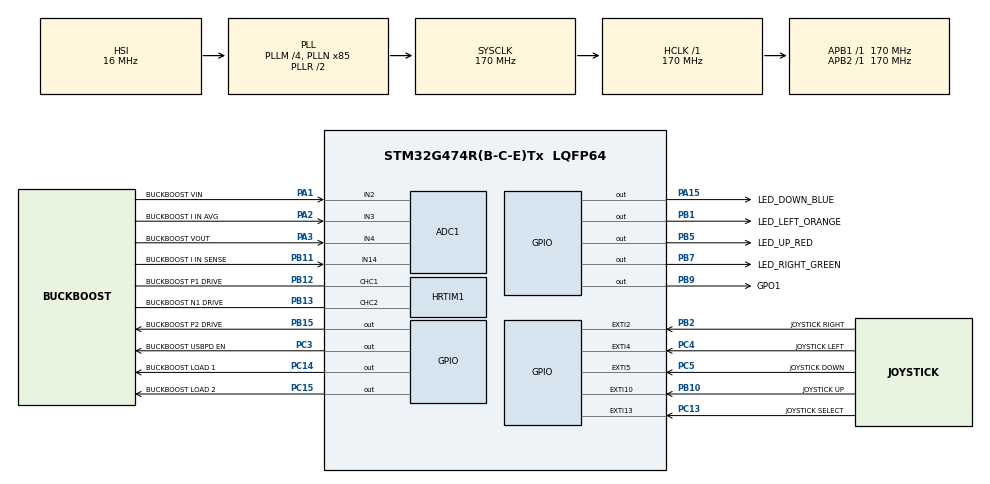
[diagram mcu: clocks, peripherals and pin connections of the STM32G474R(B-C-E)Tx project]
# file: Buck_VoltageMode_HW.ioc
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ADC1.Channel-0\#ChannelRegularConversion=ADC_CHANNEL_4
ADC1.DMAContinuousRequests=ENABLE
ADC1.DataAlign=ADC_DATAALIGN_LEFT
ADC1.ExternalTrigConv=ADC_EXTERNALTRIG_HRTIM_TRG1
ADC1.NbrOfConversionFlag=1
ADC1.Offset-0\#ChannelRegularConversion=REF
ADC1.OffsetNumber-0\#ChannelRegularConversion=ADC_OFFSET_1
ADC1.Overrun=ADC_OVR_DATA_OVERWRITTEN
ADC1.Rank-0\#ChannelRegularConversion=1
ADC1.SamplingTime-0\#ChannelRegularConversion=ADC_SAMPLETIME_2CYCLES_5
ADC1.master=1
Dma.ADC1.0.Direction=DMA_PERIPH_TO_MEMORY
Dma.ADC1.0.EventEnable=DISABLE
Dma.ADC1.0.Instance=DMA1_Channel1
Dma.ADC1.0.MemDataAlignment=DMA_MDATAALIGN_WORD
Dma.ADC1.0.MemInc=DMA_MINC_DISABLE
Dma.ADC1.0.Mode=DMA_CIRCULAR
Dma.ADC1.0.PeriphDataAlignment=DMA_PDATAALIGN_WORD
Dma.ADC1.0.PeriphInc=DMA_PINC_DISABLE
Dma.ADC1.0.Polarity=HAL_DMAMUX_REQ_GEN_RISING
Dma.ADC1.0.Priority=DMA_PRIORITY_LOW
Dma.ADC1.0.RequestNumber=1
Dma.ADC1.0.SignalID=HAL_DMAMUX1_REQ_GEN_EXTI2
Dma.ADC1.0.SyncEnable=DISABLE
Dma.ADC1.0.SyncPolarity=HAL_DMAMUX_SYNC_NO_EVENT
Dma.ADC1.0.SyncRequestNumber=1
Dma.ADC1.0.SyncSignalID=NONE
Dma.Request0=ADC1
HRTIM1.ADCTrigger1_Source1=HRTIM_ADCTRIGGEREVENT13_TIMERC_CMP3
HRTIM1.ADCTrigger_Id1=HRTIM_ADCTRIGGER_1
HRTIM1.CompareUnit1-Output_TC1TC2=HRTIM_COMPAREUNIT_1
HRTIM1.CompareUnit2-Output_TC1TC2=HRTIM_COMPAREUNIT_2
HRTIM1.CompareUnit3-Output_TC1TC2=HRTIM_COMPAREUNIT_3
HRTIM1.CompareValue1-Output_TC1TC2=0
HRTIM1.CompareValue2-Output_TC1TC2=24480
HRTIM1.CompareValue3-Output_TC1TC2=50
HRTIM1.DeadTimeInsertion-Output_TC1TC2=HRTIM_TIMDEADTIMEINSERTION_ENABLED
HRTIM1.FallingValue-Output_TC1TC2=300
HRTIM1.FaultLevel1-Output_TC1TC2=HRTIM_OUTPUTFAULTLEVEL_INACTIVE
HRTIM1.FaultLevel2-Output_TC1TC2=HRTIM_OUTPUTFAULTLEVEL_INACTIVE
HRTIM1.GreaterCMP1_TC=HRTIM_TIMERGTCMP1_EQUAL
HRTIM1.NumberADCTriggerSource1=1
HRTIM1.NumberResetSource1-Output_TC1TC2=2
HRTIM1.NumberSetSource1-Output_TC1TC2=1
HRTIM1.Periode_TC=27200
HRTIM1.PreloadEnable-Output_TC1TC2=HRTIM_PRELOAD_DISABLED
HRTIM1.ResetOutput1_Source1-Output_TC1TC2=HRTIM_OUTPUTRESET_TIMCMP1
HRTIM1.ResetOutput1_Source2-Output_TC1TC2=HRTIM_OUTPUTRESET_TIMCMP2
HRTIM1.RisingValue-Output_TC1TC2=75
HRTIM1.SetOutput1_Source1-Output_TC1TC2=HRTIM_OUTPUTSET_TIMPER
Mcu.Family=STM32G4
Mcu.Name=STM32G474R(B-C-E)Tx
Mcu.Package=LQFP64
NVIC.DMA1_Channel1_IRQn=true\:0\:0\:false\:false\:false\:false\:false\:true
NVIC.EXTI15_10_IRQn=true\:0\:0\:false\:false\:true\:true\:true\:true
NVIC.EXTI2_IRQn=true\:0\:0\:false\:false\:true\:true\:true\:true
NVIC.EXTI4_IRQn=true\:0\:0\:false\:false\:true\:true\:true\:true
NVIC.EXTI9_5_IRQn=true\:0\:0\:false\:false\:true\:true\:true\:true
NVIC.FMAC_IRQn=true\:0\:0\:false\:false\:true\:true\:false\:true
NVIC.PriorityGroup=NVIC_PRIORITYGROUP_4
PA1.GPIO_Label=BUCKBOOST VIN
PA1.Mode=IN2-Single-Ended
PA1.Signal=ADC1_IN2
PA13.GPIO_Label=T_SWDIO
PA13.Mode=Trace_Asynchronous_SW
PA13.Signal=SYS_JTMS-SWDIO
PA14.GPIO_Label=T_SWCLK
PA14.Mode=Trace_Asynchronous_SW
PA14.Signal=SYS_JTCK-SWCLK
PA15.GPIO_Label=LED_DOWN_BLUE
PA15.GPIO_PuPd=GPIO_NOPULL
PA15.Signal=GPIO_Output
PA2.GPIO_Label=BUCKBOOST I IN AVG
PA2.Mode=IN3-Single-Ended
PA2.Signal=ADC1_IN3
PA3.GPIO_Label=BUCKBOOST VOUT
PA3.Mode=IN4-Single-Ended
PA3.Signal=ADC1_IN4
PB1.GPIO_Label=LED_LEFT_ORANGE
PB1.GPIO_PuPd=GPIO_NOPULL
PB1.Signal=GPIO_Output
PB10.GPIO_Label=JOYSTICK UP
PB10.GPIO_PuPd=GPIO_PULLUP
PB10.Signal=GPXTI10
PB11.GPIO_Label=BUCKBOOST I IN SENSE
PB11.Mode=IN14-Single-Ended
PB11.Signal=ADC1_IN14
PB12.GPIO_Label=BUCKBOOST P1 DRIVE
PB12.Mode=Output_TC1TC2
PB12.Signal=HRTIM1_CHC1
PB13.GPIO_Label=BUCKBOOST N1 DRIVE
PB13.Mode=Output_TC1TC2
PB13.Signal=HRTIM1_CHC2
PB14.GPIO_Label=BUCKBOOST N2 DRIVE
PB14.Signal=HRTIM1_CHD1
PB15.GPIO_Label=BUCKBOOST P2 DRIVE
PB15.Signal=GPIO_Output
PB2.GPIO_Label=JOYSTICK RIGHT
PB2.GPIO_ModeDefaultEXTI=GPIO_MODE_IT_RISING
PB2.GPIO_PuPd=GPIO_PULLUP
PB2.Signal=GPXTI2
PB3.GPIO_Label=T_SWO
PB3.Mode=Trace_Asynchronous_SW
PB3.Signal=SYS_JTDO-SWO
PB5.GPIO_Label=LED_UP_RED
PB5.GPIO_PuPd=GPIO_NOPULL
PB5.Signal=GPIO_Output
PB7.GPIO_Label=LED_RIGHT_GREEN
PB7.GPIO_PuPd=GPIO_NOPULL
PB7.Signal=GPIO_Output
PB9.GPIO_Label=GPO1
PB9.GPIO_Speed=GPIO_SPEED_FREQ_VERY_HIGH
PB9.Signal=GPIO_Output
PC10.Signal=USART3_TX
PC11.Signal=USART3_RX
PC13.GPIO_Label=JOYSTICK SELECT
PC13.GPIO_PuPd=GPIO_PULLUP
PC13.Signal=GPXTI13
PC14-OSC32_IN.GPIO_Label=BUCKBOOST LOAD 1
PC14-OSC32_IN.Signal=GPIO_Output
PC15-OSC32_OUT.GPIO_Label=BUCKBOOST LOAD 2
PC15-OSC32_OUT.Signal=GPIO_Output
PC3.GPIO_Label=BUCKBOOST USBPD EN
PC3.PinState=GPIO_PIN_SET
PC3.Signal=GPIO_Output
PC4.GPIO_Label=JOYSTICK LEFT
PC4.GPIO_PuPd=GPIO_PULLUP
PC4.Signal=GPXTI4
PC5.GPIO_Label=JOYSTICK DOWN
PC5.GPIO_PuPd=GPIO_PULLUP
PC5.Signal=GPXTI5
ProjectManager.HeapSize=0x200
ProjectManager.StackSize=0x400
ProjectManager.TargetToolchain=CMake
RCC.ADC12CLockSelection=RCC_ADC12CLKSOURCE_PLL
RCC.ADC12Freq_Value=34000000
RCC.ADC345Freq_Value=170000000
RCC.AHBFreq_Value=170000000
RCC.APB1Freq_Value=170000000
RCC.APB1TimFreq_Value=170000000
RCC.APB2Freq_Value=170000000
RCC.APB2TimFreq_Value=170000000
RCC.CortexFreq_Value=170000000
RCC.EXTERNAL_CLOCK_VALUE=12288000
RCC.HCLKFreq_Value=170000000
RCC.HSE_VALUE=24000000
RCC.HSI48_VALUE=48000000
RCC.HSI_VALUE=16000000
RCC.LSE_VALUE=32768
RCC.PLLM=RCC_PLLM_DIV4
RCC.PLLN=85
RCC.PLLP=RCC_PLLP_DIV10
RCC.SYSCLKFreq_VALUE=170000000
RCC.SYSCLKSource=RCC_SYSCLKSOURCE_PLLCLK
RCC.USBFreq_Value=170000000
RCC.VCOOutputFreq_Value=340000000
VP_FMAC_VS_FMAC.Mode=FMAC_Activate
VP_RTC_VS_RTC_Activate.Mode=RTC_Enabled
VP_SYS_VS_DBSignals.Mode=DisableDeadBatterySignals
board=B-G474E-DPOW1

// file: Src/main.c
/* USER CODE BEGIN Header */
/**
  ******************************************************************************
  * @file         main.c
  * @author       STMicroelectronics
  * @brief        Main program body
  * @details      This file provides main function and peripheral init
  *               functions
  ******************************************************************************
  *
  * Copyright (c) 2022 STMicroelectronics.
  * All rights reserved.
  *
  * This software is licensed under terms that can be found in the LICENSE file in
  * the root directory of this software component.
  * If no LICENSE file comes with this software, it is provided AS-IS.
  ******************************************************************************
  *
 * @history Date       Version Person  Change
 * @history ---------- ------- ------- ----------------------------------------
  * @history 2020-02-14 1.0     PBo     Created with the support of Biricha Digital Power LTd
  * @history 2022-01-04 1.0     RGo     Header modifications
  * @history 2022-01-10 2.0     NSa     Moved Systick_Handler to ISR file and Load_Handler to
  *                                     app code file
 */

/* USER CODE END Header */
#include "main.h"
#include "adc.h"
#include "dma.h"
#include "fmac.h"
#include "hrtim.h"
#include "rtc.h"
#include "gpio.h"

/* USER CODE BEGIN Includes */
#include "stm32g4xx_it.h"
/* USER CODE END Includes */

/* USER CODE BEGIN PD */
// #define RUN_OPEN_LOOP
/* USER CODE END PD */

/* USER CODE BEGIN PV */
/* FMAC configuration structure */
FMAC_FilterConfigTypeDef sFmacConfig;
DMA_HandleTypeDef hdma_fmac_read;

/* Array of filter coefficients A (feedback coefficients) in Q1.15 format */
static int16_t aFilterCoeffA[COEFF_VECTOR_A_SIZE] = {A1,A2,A3};

/* Array of filter coefficients B (feed-forward taps) in Q1.15 format */
static int16_t aFilterCoeffB[COEFF_VECTOR_B_SIZE] = {(int16_t)-B0,(int16_t)-B1,(int16_t)-B2,(int16_t)-B3};

/* Array of output data to preload in Q1.15 format */
static int16_t aOutputDataToPreload[COEFF_VECTOR_A_SIZE] = {0x0000, 0x0000, 0x0000};

/* Expected number of calculated samples */
uint16_t ExpectedCalculatedOutputSize = (uint16_t) 1;
uint32_t *Fmac_Wdata;
int16_t Fmac_output;
int16_t bTransient = 0;

/* Voltage step: toggle between 1.8V and 2.8V every 2s */
static const uint16_t refTable[] = {444, 691};
#define REF_STEP_MS 2000
uint8_t refIndex = 0;
uint32_t lastRefTick = 0;
/* USER CODE END PV */

void SystemClock_Config(void);

int main(void)
{

  /* MCU Configuration--------------------------------------------------------*/

  /* Reset of all peripherals, Initializes the Flash interface and the Systick. */
  HAL_Init();

  /* Configure the system clock */
  SystemClock_Config();

  /* Initialize all configured peripherals */
  MX_GPIO_Init();
  MX_DMA_Init();
  MX_RTC_Init();
  MX_ADC1_Init();
  MX_HRTIM1_Init();
  MX_FMAC_Init();
  /* USER CODE BEGIN 2 */

     /*## Configure the FMAC peripheral ###########################################*/
  sFmacConfig.InputBaseAddress  = INPUT_BUFFER_BASE;
  sFmacConfig.InputBufferSize   = INPUT_BUFFER_SIZE;
  sFmacConfig.InputThreshold    = INPUT_THRESHOLD;
  sFmacConfig.CoeffBaseAddress  = COEFFICIENT_BUFFER_BASE;
  sFmacConfig.CoeffBufferSize   = COEFFICIENT_BUFFER_SIZE;
  sFmacConfig.OutputBaseAddress = OUTPUT_BUFFER_BASE;
  sFmacConfig.OutputBufferSize  = OUTPUT_BUFFER_SIZE;
  sFmacConfig.OutputThreshold   = OUTPUT_THRESHOLD;
  sFmacConfig.pCoeffA           = aFilterCoeffA;
  sFmacConfig.CoeffASize        = COEFF_VECTOR_A_SIZE;
  sFmacConfig.pCoeffB           = aFilterCoeffB;
  sFmacConfig.CoeffBSize        = COEFF_VECTOR_B_SIZE;
  sFmacConfig.Filter            = FMAC_FUNC_IIR_DIRECT_FORM_1;
  sFmacConfig.InputAccess       = FMAC_BUFFER_ACCESS_NONE;
  sFmacConfig.OutputAccess      = FMAC_BUFFER_ACCESS_IT;
  sFmacConfig.Clip              = FMAC_CLIP_ENABLED;
  sFmacConfig.P                 = COEFF_VECTOR_B_SIZE;
  sFmacConfig.Q                 = COEFF_VECTOR_A_SIZE;
  sFmacConfig.R                 = post_shift;

  if (HAL_FMAC_FilterConfig(&hfmac, &sFmacConfig) != HAL_OK)
  {
    /* Configuration Error */
    Error_Handler();
  }

  /*## Preload the input and output buffers ####################################*/
  if (HAL_FMAC_FilterPreload(&hfmac, NULL, INPUT_BUFFER_SIZE,
                           aOutputDataToPreload, COEFF_VECTOR_A_SIZE) != HAL_OK)
  {
    /* Configuration Error */
    Error_Handler();
  }
  /* Start calculation of IIR filter */
   if (HAL_FMAC_FilterStart(&hfmac,&Fmac_output,&ExpectedCalculatedOutputSize) != HAL_OK)
  {
    /* Processing Error */
    Error_Handler();
  }

  /* Perform an ADC automatic self-calibration and enable ADC */
  HAL_ADCEx_Calibration_Start(&hadc1, ADC_SINGLE_ENDED);

#ifdef RUN_OPEN_LOOP
  /* Do not start ADC and DMA, instead set fixed duty cycle */
  __HAL_HRTIM_SETCOMPARE( &hhrtim1, HRTIM_TIMERINDEX_TIMER_C, HRTIM_COMPAREUNIT_1, 10000);
#else
  /* Start ADC and DMA */
  Fmac_Wdata = (uint32_t *) FMAC_WDATA;
  HAL_ADC_Start_DMA(&hadc1,Fmac_Wdata,1);
#endif

  /* Start the PWMs */
  HAL_HRTIM_WaveformOutputStart(&hhrtim1, HRTIM_OUTPUT_TC1 | HRTIM_OUTPUT_TC2);
  HAL_HRTIM_WaveformCounterStart(&hhrtim1, HRTIM_TIMERID_TIMER_C);

  /* Enable T6 for Buck only mode usage */
  HAL_GPIO_WritePin(GPIOB, BUCKBOOST_P2_DRIVE_Pin, GPIO_PIN_SET);

  /* USER CODE END 2 */

  /* Infinite loop */
  /* USER CODE BEGIN WHILE */
  while (1)
  {
    if (bTransient)
    {
      HAL_GPIO_WritePin(GPIOA, LED_DOWN_BLUE_Pin, GPIO_PIN_SET);

      // Toggle both Loads
      HAL_GPIO_TogglePin(GPIOC, BUCKBOOST_LOAD_1_Pin);
      HAL_GPIO_TogglePin(GPIOC, BUCKBOOST_LOAD_2_Pin);
      HAL_GPIO_TogglePin(GPIOB, LED_RIGHT_GREEN_Pin);
      HAL_GPIO_TogglePin(GPIOB, LED_LEFT_ORANGE_Pin);

      // Delay
      HAL_Delay(500);
    } else {
      HAL_GPIO_WritePin(GPIOA, LED_DOWN_BLUE_Pin, GPIO_PIN_RESET);
    }

    // Voltage sweep: 1.8V to 2.8V, step every REF_STEP_MS
    if (HAL_GetTick() - lastRefTick >= REF_STEP_MS)
    {
      lastRefTick = HAL_GetTick();
      refIndex++;
      if (refIndex >= (sizeof(refTable) / sizeof(refTable[0])))
        refIndex = 0;
      hadc1.Instance->OFR1 = (hadc1.Instance->OFR1 & 0xFC000000) | refTable[refIndex];
    }

    /* USER CODE END WHILE */

  }
}

void SystemClock_Config(void)
{
  RCC_OscInitTypeDef RCC_OscInitStruct = {0};
  RCC_ClkInitTypeDef RCC_ClkInitStruct = {0};

  /** Configure the main internal regulator output voltage
  */
  HAL_PWREx_ControlVoltageScaling(PWR_REGULATOR_VOLTAGE_SCALE1_BOOST);

  /** Initializes the RCC Oscillators according to the specified parameters
  * in the RCC_OscInitTypeDef structure.
  */
  RCC_OscInitStruct.OscillatorType = RCC_OSCILLATORTYPE_HSI|RCC_OSCILLATORTYPE_LSI;
  RCC_OscInitStruct.HSIState = RCC_HSI_ON;
  RCC_OscInitStruct.HSICalibrationValue = RCC_HSICALIBRATION_DEFAULT;
  RCC_OscInitStruct.LSIState = RCC_LSI_ON;
  RCC_OscInitStruct.PLL.PLLState = RCC_PLL_ON;
  RCC_OscInitStruct.PLL.PLLSource = RCC_PLLSOURCE_HSI;
  RCC_OscInitStruct.PLL.PLLM = RCC_PLLM_DIV4;
  RCC_OscInitStruct.PLL.PLLN = 85;
  RCC_OscInitStruct.PLL.PLLP = RCC_PLLP_DIV10;
  RCC_OscInitStruct.PLL.PLLQ = RCC_PLLQ_DIV2;
  RCC_OscInitStruct.PLL.PLLR = RCC_PLLR_DIV2;
  if (HAL_RCC_OscConfig(&RCC_OscInitStruct) != HAL_OK)
  {
    Error_Handler();
  }

  /** Initializes the CPU, AHB and APB buses clocks
  */
  RCC_ClkInitStruct.ClockType = RCC_CLOCKTYPE_HCLK|RCC_CLOCKTYPE_SYSCLK
                              |RCC_CLOCKTYPE_PCLK1|RCC_CLOCKTYPE_PCLK2;
  RCC_ClkInitStruct.SYSCLKSource = RCC_SYSCLKSOURCE_PLLCLK;
  RCC_ClkInitStruct.AHBCLKDivider = RCC_SYSCLK_DIV1;
  RCC_ClkInitStruct.APB1CLKDivider = RCC_HCLK_DIV1;
  RCC_ClkInitStruct.APB2CLKDivider = RCC_HCLK_DIV1;

  if (HAL_RCC_ClockConfig(&RCC_ClkInitStruct, FLASH_LATENCY_4) != HAL_OK)
  {
    Error_Handler();
  }
}

void Error_Handler(void)
{
  /* USER CODE BEGIN Error_Handler_Debug */
  /* User can add his own implementation to report the HAL error return state */
	Demo_Error_Handler();

  /* USER CODE END Error_Handler_Debug */
}
